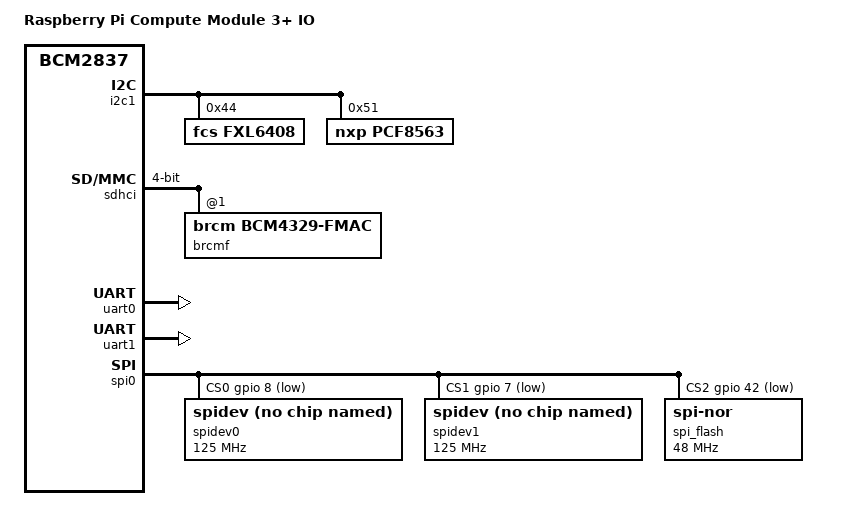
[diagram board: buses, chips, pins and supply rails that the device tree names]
/dts-v1/;

#include "bcm2710-rpi-cm3.dts"

/ {
	compatible = "raspberrypi,3-compute-module", "brcm,bcm2837";
	model = "Raspberry Pi Compute Module 3+ IO";

	aliases {
		serial0 = &uart1;
		serial1 = &uart0;
		mmc1 = &sdhci;
	};
};


&gpio {
	sdio_pins: sdio_pins {
		brcm,pins =     <34 35 36 37 38 39>;
		brcm,function = <7>; // alt3 = SD1
		brcm,pull =     <0 2 2 2 2 2>;
	};

	bt_pins: bt_pins {
		brcm,pins = <43>;
		brcm,function = <4>; /* alt0:GPCLK2 */
		brcm,pull = <0>;
	};

	uart0_pins: uart0_pins {
		brcm,pins = <32 33>;
		brcm,function = <7>; /* alt3=UART0 */
		brcm,pull = <0 2>;
	};

	uart1_pins: uart1_pins {
		brcm,pins;
		brcm,function;
		brcm,pull;
	};

	spi0_pins: spi0_pins {
		brcm,pins = <9 10 11>;
		brcm,function = <4>; /* alt0 */
	};

	spi0_cs_pins: spi0_cs_pins {
		brcm,pins = <8 7 42>;
		brcm,function = <1>; /* output */
	};
};

&i2c1 {
	#address-cells = <1>;
	#size-cells = <0>;
	status = "okay";

	fxl6408: fxl6408@44 {
		compatible = "fcs,fxl6408";
		reg = <0x44>;
		gpio-controller;
		#gpio-cells = <2>;
		inital_io_dir = <0x00>;
		inital_output = <0x00>;
		status = "okay";
	};

	pcf8563: pcf8563@51 {
		compatible = "nxp,pcf8563";
		reg = <0x51>;
		status = "okay";
	};
};

/* SDHCI is used to control the SDIO for wireless */
&sdhci {
	#address-cells = <1>;
	#size-cells = <0>;
	pinctrl-names = "default";
	pinctrl-0 = <&sdio_pins>;
	status = "okay";
	bus-width = <4>;
	brcm,overclock-50 = <0>;
	max-frequency = <1000000>;
	brcmf: wifi@1 {
		reg = <1>;
		compatible = "brcm,bcm4329-fmac";
	};
};


&uart0 {
	pinctrl-names = "default";
	pinctrl-0 = <&uart0_pins &bt_pins>;
	status = "okay";
};

&uart1 {
	pinctrl-names = "default";
	pinctrl-0 = <&uart1_pins>;
	status = "okay";
};

&spi0 {
	pinctrl-names = "default";
	pinctrl-0 = <&spi0_pins &spi0_cs_pins>;
	cs-gpios = <&gpio 8 1>, <&gpio 7 1>, <&gpio 42 1>;
	status = "okay";

	spidev0: spidev@0{
		compatible = "spidev";
		reg = <0>;	/* CE0 */
		#address-cells = <1>;
		#size-cells = <0>;
		spi-max-frequency = <125000000>;
	};

	spidev1: spidev@1{
		compatible = "spidev";
		reg = <1>;	/* CE1 */
		#address-cells = <1>;
		#size-cells = <0>;
		spi-max-frequency = <125000000>;
	};

	spi_flash: spi_flash@2 {
		#address-cells = <1>;
		#size-cells = <1>;
		compatible = "jedec,spi-nor";
		reg = <2>;	/* CE2 */
		spi-max-frequency = <48000000>;
	};
};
